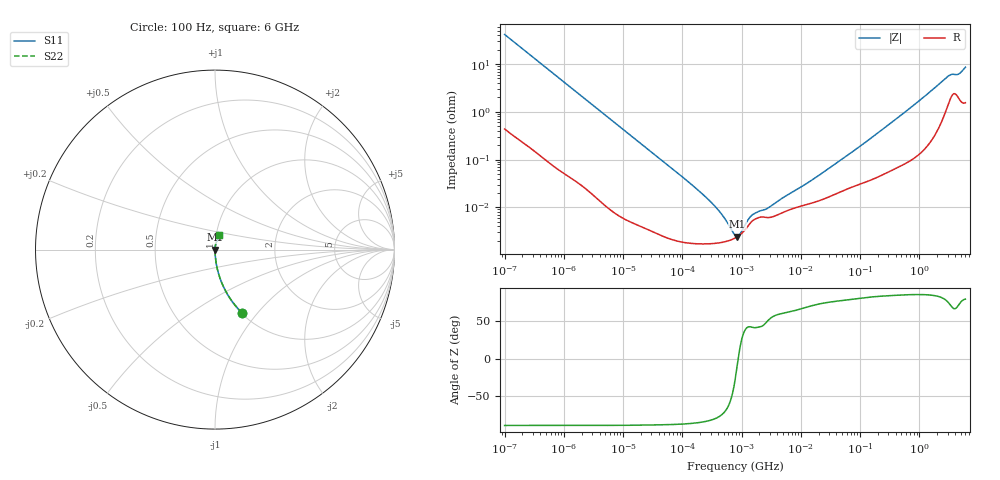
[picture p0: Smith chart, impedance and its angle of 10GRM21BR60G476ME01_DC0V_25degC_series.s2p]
!Murata Part Number: GRM21BR60G476ME01
!These Parameters are Measured in Series Mode Connection
!  o--ll--o
!Port1  Port2
!  o------o
!Operation Temp=25[degC], DC Bias Voltage=0[V]
!Freq. Start=100[Hz] Stop=6[GHz], 401[Steps]
!Data Generated on Sep 6, 2018
# Hz S RI R 50
!Freq.(Hz) S11(Real) S11(Imag) S21(Real) S21(Imag) S12(Real) S12(Imag) S22(Real) S22(Imag)
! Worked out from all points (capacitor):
!   401 points, 100 Hz to 6 GHz, reference 50 ohm
!   read as one part in series: C = 38 uF near 109.4 Hz
!   lowest |Z| = 2.44 mohm at 847.2 kHz (marker M1)
!   series resonance near 877.6 kHz, so ESL is about 870 pH
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100  0.1515 -0.3534  0.8485 0.3534  0.8485 0.3534  0.1515 -0.3534
178.974  0.0543 -0.2213  0.9457 0.2213  0.9457 0.2213  0.0543 -0.2213
366.3667  0.0144 -0.1134  0.9856 0.1134  0.9856 0.1134  0.0144 -0.1134
784.3094  0.00354 -0.0539  0.9965 0.0539  0.9965 0.0539  0.00354 -0.0539
2008.354  0.000736 -0.0213  0.9993 0.0213  0.9993 0.0213  0.000736 -0.0213
40334.87  2.8e-05 -0.00108  1 0.00108  1 0.00108  2.8e-05 -0.00108
161617.1  1.74e-05 -0.000263  1 0.000263  1 0.000263  1.74e-05 -0.000263
361829.7  1.76e-05 -0.000101  1 0.000101  1 0.000101  1.76e-05 -0.000101
413847.5  1.79e-05 -8.28e-05  1 8.28e-05  1 8.28e-05  1.79e-05 -8.28e-05
774596.7  2.26e-05 -1.26e-05  1 1.26e-05  1 1.26e-05  2.26e-05 -1.26e-05
847161.8  2.42e-05 -3.54e-06  1 3.54e-06  1 3.54e-06  2.42e-05 -3.54e-06
2594782  6.13e-05 6.84e-05  0.9999 -6.84e-05  0.9999 -6.84e-05  6.13e-05 6.84e-05
2967816  6.11e-05 8.09e-05  0.9999 -8.09e-05  0.9999 -8.09e-05  6.11e-05 8.09e-05
5079039  7.86e-05 0.00014  0.9999 -0.00014  0.9999 -0.00014  7.86e-05 0.00014
1.555665e7  0.000123 0.000354  0.9999 -0.000354  0.9999 -0.000354  0.000123 0.000354
8.154455e7  0.000281 0.00156  0.9997 -0.00156  0.9997 -0.00156  0.000281 0.00156
3.124326e8  0.00059 0.00549  0.9994 -0.00549  0.9994 -0.00549  0.00059 0.00549
1.000774e9  0.00158 0.0171  0.9984 -0.0171  0.9984 -0.0171  0.00158 0.0171
2.931063e9  0.0145 0.0507  0.9855 -0.0507  0.9855 -0.0507  0.0145 0.0507
3.505958e9  0.0238 0.0546  0.9762 -0.0546  0.9762 -0.0546  0.0238 0.0546
4.586474e9  0.0224 0.0561  0.9776 -0.0561  0.9776 -0.0561  0.0224 0.0561
6e9  0.0222 0.0817  0.9778 -0.0817  0.9778 -0.0817  0.0222 0.0817
